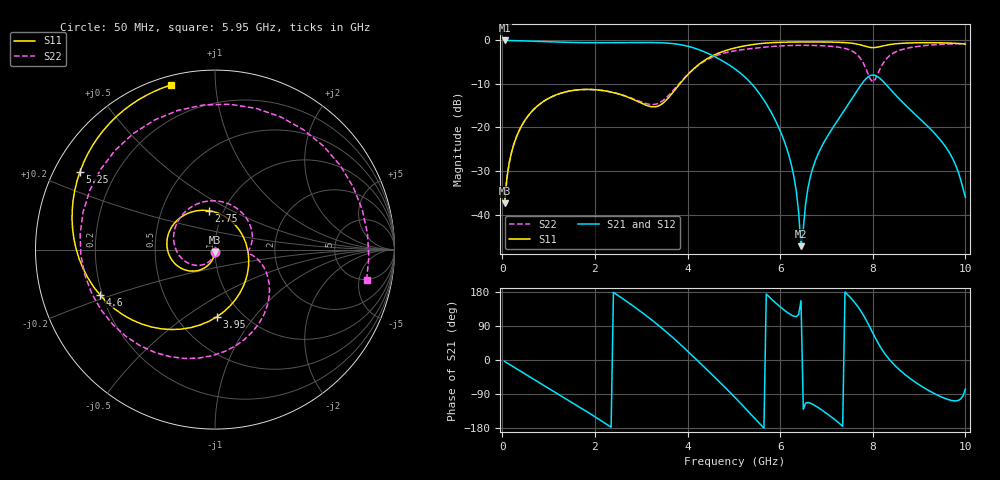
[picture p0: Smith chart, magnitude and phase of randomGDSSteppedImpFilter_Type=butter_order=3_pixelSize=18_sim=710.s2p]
! freq	dB(S11)	phase(S11)	dB(S12)	phase(S12)
!  dB(S21)	phase(S21)	dB(S22)	phase(S22)
!S-par simulation data
#  GHz  S  DB  R 50
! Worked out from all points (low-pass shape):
!   200 points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, 50 MHz to 10 GHz, reference 50 ohm
!   highest |S21| = -0.01 dB at 50 MHz (marker M1); lowest = -47.3 dB at 6.45 GHz (marker M2)
!   |S21| within 3 dB of the highest: start of sweep to 4.446 GHz
!   lowest |S11| = -37.5 dB at 50 MHz (marker M3), VSWR 1.03, Z = 49.9 - j1.34 ohm
!   |S11| at or under -10 dB: start of sweep to 3.831 GHz
!   |S22| runs from -37.5 to -0.7 dB; largest |S21 - S12| = 0
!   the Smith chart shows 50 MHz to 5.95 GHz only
!   S11 on the Smith chart (normalised r, x): 50 MHz: 1.00, -0.03; 2.75 GHz: 0.86, +0.39; 3.95 GHz: 0.76, -0.67; 4.6 GHz: 0.19, -0.18; 5.25 GHz: 0.08, +0.27; 5.95 GHz: 0.04, +0.77
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0.05  -37.46 -93.0  -0.01 -3.8  -0.01 -3.8  -37.46 -94.2
0.5  -18.17 -121.5  -0.12 -37.5  -0.12 -37.5  -18.18 -134.5
1.75  -11.27 165.6  -0.50 -130.5  -0.50 -130.5  -11.28 112.5
2.75  -13.20 98.6  -0.49 149.1  -0.49 149.1  -13.09 20.2
3.4  -14.90 2.7  -0.52 88.6  -0.52 88.6  -14.29 -6.8
3.95  -8.51 -88.6  -1.19 29.3  -1.19 29.3  -8.40 -37.0
4.6  -3.23 -158.7  -3.80 -47.0  -3.80 -47.0  -3.56 -120.3
5.05  -1.66 164.4  -6.75 -102.1  -6.75 -102.1  -2.34 164.2
5.25  -1.22 150.0  -8.52 -127.9  -8.52 -127.9  -2.04 125.2
5.55  -0.76 129.8  -12.17 -167.1  -12.17 -167.1  -1.67 63.6
5.95  -0.45 105.1  -19.56 145.5  -19.56 145.5  -1.29 -11.3
6.3  -0.36 85.6  -31.44 115.4  -31.44 115.4  -1.14 -63.9
6.45  -0.35 77.7  -47.26 156.6  -47.26 156.6  -1.12 -83.7
6.7  -0.34 65.1  -29.48 -116.7  -29.48 -116.7  -1.14 -114.4
7.3  -0.44 36.5  -17.46 -169.5  -17.46 -169.5  -1.61 169.9
7.65  -0.81 20.4  -11.75 145.5  -11.75 145.5  -3.14 106.2
7.9  -1.51 12.0  -8.35 95.5  -8.35 95.5  -7.75 16.4
8.1  -1.54 9.5  -8.30 48.1  -8.30 48.1  -7.87 -112.5
8.35  -0.98 2.2  -10.88 2.6  -10.88 2.6  -3.62 163.1
8.9  -0.55 -18.8  -16.83 -57.0  -16.83 -57.0  -1.48 74.2
9.4  -0.54 -37.3  -22.11 -92.8  -22.11 -92.8  -0.95 21.0
10  -0.85 -62.9  -36.03 -76.6  -36.03 -76.6  -0.73 -27.0
